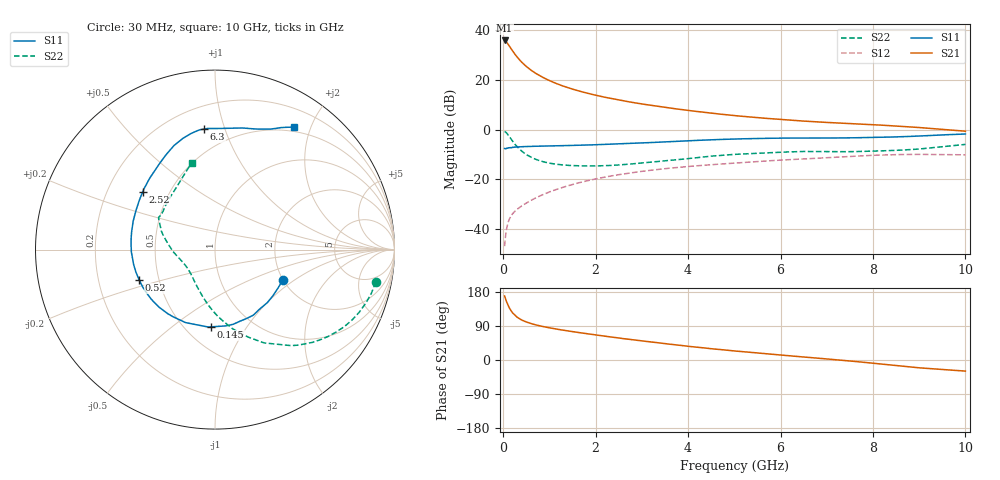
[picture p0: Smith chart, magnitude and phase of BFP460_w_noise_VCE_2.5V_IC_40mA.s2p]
! (c) 2016  Infineon Technologies AG, Munich
! Infineon Technologies  Discrete & RF Semiconductors
! BFP460
! VCE =  2.5 V,  IC =  40 mA
! Common Emitter S-Parameters:  Jan 2016
# GHz  S  MA  R  50
!  f  S11  S21  S12  S22
! GHz  MAG  ANG  MAG  ANG  MAG  ANG  MAG  ANG
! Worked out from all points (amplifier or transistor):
!   229 points, 30 MHz to 10 GHz, reference 50 ohm
!   highest |S21| = 35.8 dB at 30 MHz (marker M1)
!   |S21| within 3 dB of that: start of sweep to 158.7 MHz
!   unconditionally stable (mu >= 1): 1.276 GHz to 7.633 GHz
!   at 280 MHz: K = 0.59, MSG = 31.1 dB, |S12| = -32.4 dB
!   at 1.78 GHz: K = 1.03, MAG = 16.8 dB, |S12| = -20.8 dB
!   at 10 GHz: K = 0.97, MSG = 4.8 dB, |S12| = -10.2 dB
!   lowest NFmin = 1.63 dB at 3.5 GHz
!   S11 on the Smith chart (normalised r, x): 30 MHz: 2.00, -0.81; 145 MHz: 0.66, -0.70; 520 MHz: 0.39, -0.16; 2.52 GHz: 0.35, +0.31; 6.3 GHz: 0.35, +0.85; 10 GHz: 0.44, +1.76
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0.03  0.4141 -24.0  61.97 169.0  0.0045 85.9  0.9129 -11.4
0.05  0.4128 -38.7  59.81 161.1  0.0072 79.8  0.8919 -19.5
0.07  0.4144 -53.3  57.58 154.3  0.0097 74.1  0.8584 -27.2
0.08  0.4231 -59.7  56.13 151.4  0.0109 72.7  0.8387 -30.8
0.11  0.4282 -76.2  51.38 142.9  0.0139 67.6  0.7719 -40.6
0.145  0.431 -92.9  45.9 134.6  0.0166 63.4  0.6943 -50.2
0.2  0.4386 -112.0  38.44 124.7  0.0201 59.8  0.5879 -62.2
0.26  0.4436 -126.4  32.16 117.2  0.023 58.2  0.4989 -71.8
0.3  0.4471 -134.0  28.78 113.0  0.0248 58.0  0.4514 -77.5
0.4  0.4511 -147.6  22.63 105.5  0.029 58.3  0.3675 -88.2
0.52  0.4549 -158.2  17.97 99.6  0.0341 59.7  0.306 -97.7
0.7  0.4609 -169.6  13.55 92.7  0.0419 61.4  0.2521 -109.2
1  0.4679 178.0  9.64 84.9  0.0555 62.6  0.2106 -122.7
1.3  0.4744 168.7  7.468 78.6  0.0693 62.2  0.1938 -132.4
1.7  0.4847 158.6  5.751 71.3  0.0878 60.4  0.1856 -142.3
2.52  0.5161 141.2  3.903 57.7  0.1243 54.3  0.1943 -159.9
3.4  0.558 126.1  2.878 44.7  0.1595 46.4  0.2293 -175.9
5.1  0.6484 105.1  1.87 22.9  0.2143 32.9  0.3191 160.1
6.3  0.6742 95.2  1.524 10.0  0.2505 23.6  0.357 151.4
6.8  0.6747 90.8  1.424 4.9  0.265 20.0  0.3602 149.2
8.4  0.7065 72.2  1.192 -13.5  0.3113 5.4  0.378 133.6
10  0.8129 57.1  0.926 -29.2  0.3098 -7.3  0.5019 104.8
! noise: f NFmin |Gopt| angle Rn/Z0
0.45  1.67  0.27  -170  0.11
0.9  1.7  0.24  -162  0.13
1.9  1.79  0.34  -141  0.14
3.5  1.63  0.57  -118  0.22
